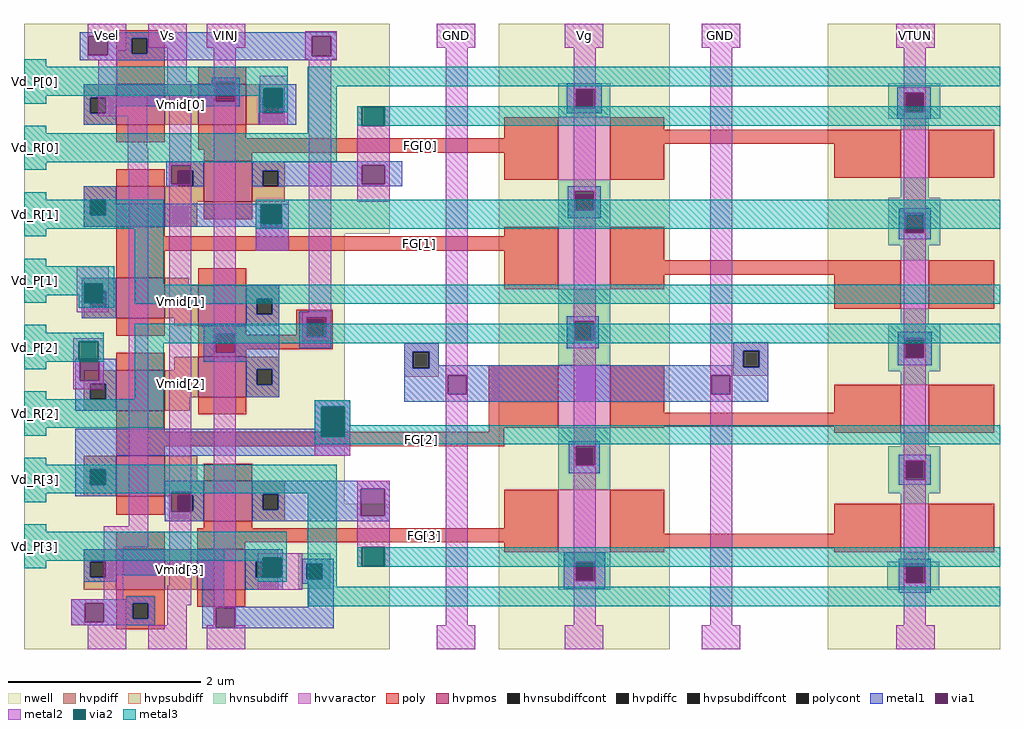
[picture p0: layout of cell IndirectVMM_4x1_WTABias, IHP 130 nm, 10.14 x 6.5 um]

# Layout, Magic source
magic
tech ihp-sg13g2
<< nwell >>
rect 510 587 890 805
rect 510 306 843 587
rect 510 155 890 306
rect 1003 155 1181 805
rect 1345 155 1524 805
<< hvpmos >>
rect 606 700 656 742
rect 691 700 741 742
rect 606 594 656 636
rect 697 620 747 662
rect 606 499 656 541
rect 691 491 741 533
rect 606 403 656 445
rect 691 417 741 459
rect 606 314 656 356
rect 697 288 747 330
rect 606 217 656 259
rect 690 217 740 259
<< hvvaractor >>
rect 1065 643 1119 708
rect 1421 645 1450 695
rect 1065 529 1119 594
rect 1421 509 1450 559
rect 1065 385 1119 450
rect 1421 380 1450 430
rect 1065 256 1119 321
rect 1421 256 1450 306
<< hvpdiff >>
rect 572 728 606 742
rect 572 712 579 728
rect 595 712 606 728
rect 572 700 606 712
rect 656 700 691 742
rect 741 728 781 742
rect 741 712 758 728
rect 774 712 781 728
rect 741 700 781 712
rect 663 652 697 662
rect 663 636 670 652
rect 686 636 697 652
rect 572 622 606 636
rect 572 606 579 622
rect 595 606 606 622
rect 572 594 606 606
rect 656 620 697 636
rect 747 652 781 662
rect 747 636 758 652
rect 774 636 781 652
rect 747 620 781 636
rect 656 594 690 620
rect 572 527 606 541
rect 572 511 579 527
rect 595 511 606 527
rect 572 499 606 511
rect 656 533 681 541
rect 656 499 691 533
rect 666 491 691 499
rect 741 519 775 533
rect 741 503 752 519
rect 768 503 775 519
rect 741 491 775 503
rect 666 445 691 459
rect 572 431 606 445
rect 572 415 579 431
rect 595 415 606 431
rect 572 403 606 415
rect 656 417 691 445
rect 741 446 775 459
rect 741 430 752 446
rect 768 430 775 446
rect 741 417 775 430
rect 656 403 682 417
rect 572 342 606 356
rect 572 326 579 342
rect 595 326 606 342
rect 572 314 606 326
rect 656 330 690 356
rect 656 315 697 330
rect 656 314 670 315
rect 663 299 670 314
rect 686 299 697 315
rect 663 288 697 299
rect 747 316 781 330
rect 747 300 758 316
rect 774 300 781 316
rect 747 288 781 300
rect 572 246 606 259
rect 572 230 579 246
rect 595 230 606 246
rect 572 217 606 230
rect 656 217 690 259
rect 740 246 774 259
rect 740 230 751 246
rect 767 230 774 246
rect 740 217 774 230
<< hvpdiffc >>
rect 579 712 595 728
rect 758 712 774 728
rect 670 636 686 652
rect 579 606 595 622
rect 758 636 774 652
rect 579 511 595 527
rect 752 503 768 519
rect 579 415 595 431
rect 752 430 768 446
rect 579 326 595 342
rect 670 299 686 315
rect 758 300 774 316
rect 579 230 595 246
rect 751 230 767 246
<< hvpsubdiff >>
rect 905 464 941 473
rect 905 447 914 464
rect 931 447 941 464
rect 1247 465 1283 474
rect 905 438 941 447
rect 1247 448 1257 465
rect 1274 448 1283 465
rect 1247 439 1283 448
<< hvnsubdiff >>
rect 1065 736 1119 743
rect 1065 719 1084 736
rect 1101 719 1119 736
rect 1065 708 1119 719
rect 1408 731 1462 743
rect 1408 714 1427 731
rect 1444 714 1462 731
rect 1408 706 1462 714
rect 1421 695 1450 706
rect 1065 628 1119 643
rect 1065 611 1084 628
rect 1101 611 1119 628
rect 1421 624 1450 645
rect 1065 594 1119 611
rect 1408 606 1462 624
rect 1408 589 1427 606
rect 1444 589 1462 606
rect 1408 575 1462 589
rect 1421 559 1450 575
rect 1065 493 1119 529
rect 1421 493 1450 509
rect 1065 476 1082 493
rect 1099 476 1119 493
rect 1065 450 1119 476
rect 1408 476 1462 493
rect 1408 459 1427 476
rect 1444 459 1462 476
rect 1408 444 1462 459
rect 1421 430 1450 444
rect 1065 364 1119 385
rect 1421 366 1450 380
rect 1065 347 1084 364
rect 1101 347 1119 364
rect 1065 321 1119 347
rect 1408 350 1462 366
rect 1408 333 1427 350
rect 1444 333 1462 350
rect 1408 317 1462 333
rect 1421 306 1450 317
rect 795 244 828 255
rect 795 228 804 244
rect 820 228 828 244
rect 795 218 828 228
rect 1065 245 1119 256
rect 1421 246 1450 256
rect 1065 228 1084 245
rect 1101 228 1119 245
rect 1065 217 1119 228
rect 1407 241 1461 246
rect 1407 224 1426 241
rect 1443 224 1461 241
rect 1407 217 1461 224
<< hvpsubdiffcont >>
rect 914 447 931 464
rect 1257 448 1274 465
<< hvnsubdiffcont >>
rect 1084 719 1101 736
rect 1427 714 1444 731
rect 1084 611 1101 628
rect 1427 589 1444 606
rect 1082 476 1099 493
rect 1427 459 1444 476
rect 1084 347 1101 364
rect 1427 333 1444 350
rect 804 228 820 244
rect 1084 228 1101 245
rect 1426 224 1443 241
<< poly >>
rect 606 790 656 798
rect 606 774 622 790
rect 638 774 656 790
rect 606 742 656 774
rect 691 742 741 760
rect 606 682 656 700
rect 691 686 741 700
rect 1009 686 1065 708
rect 691 674 1065 686
rect 697 671 1065 674
rect 697 662 747 671
rect 606 636 656 654
rect 1009 643 1065 671
rect 1119 695 1175 708
rect 1119 680 1421 695
rect 1119 643 1175 680
rect 1352 645 1421 680
rect 1450 645 1518 695
rect 697 602 747 620
rect 606 584 656 594
rect 1009 584 1065 594
rect 606 569 1065 584
rect 606 541 656 569
rect 691 533 741 551
rect 606 481 656 499
rect 1009 529 1065 569
rect 1119 559 1175 594
rect 1119 544 1421 559
rect 1119 529 1175 544
rect 793 497 831 508
rect 691 482 741 491
rect 793 482 804 497
rect 691 480 804 482
rect 821 480 831 497
rect 691 467 831 480
rect 1352 509 1421 544
rect 1450 509 1518 559
rect 606 445 656 463
rect 691 459 741 467
rect 606 381 656 403
rect 691 399 741 417
rect 993 385 1065 450
rect 1119 401 1175 450
rect 1352 401 1421 430
rect 1119 386 1421 401
rect 1119 385 1175 386
rect 993 381 1009 385
rect 606 366 1009 381
rect 606 356 656 366
rect 1352 380 1421 386
rect 1450 380 1518 430
rect 697 330 747 348
rect 606 295 656 314
rect 697 281 747 288
rect 1009 281 1065 321
rect 606 259 656 277
rect 690 266 1065 281
rect 690 259 740 266
rect 1009 256 1065 266
rect 1119 275 1175 321
rect 1352 275 1421 306
rect 1119 260 1421 275
rect 1119 256 1175 260
rect 1352 256 1421 260
rect 1450 256 1518 306
rect 606 203 656 217
rect 606 187 623 203
rect 639 187 656 203
rect 690 199 740 217
rect 606 176 656 187
<< polycont >>
rect 622 774 638 790
rect 804 480 821 497
rect 623 187 639 203
<< metal1 >>
rect 568 792 835 796
rect 568 772 577 792
rect 597 790 809 792
rect 597 774 622 790
rect 638 774 809 790
rect 597 772 809 774
rect 568 771 809 772
rect 829 771 835 792
rect 568 767 835 771
rect 705 744 734 749
rect 705 742 709 744
rect 572 728 709 742
rect 572 712 579 728
rect 595 724 709 728
rect 729 724 734 744
rect 595 719 734 724
rect 754 732 793 742
rect 754 728 759 732
rect 595 712 606 719
rect 572 700 606 712
rect 754 712 758 728
rect 779 712 793 732
rect 1074 737 1110 743
rect 1074 717 1083 737
rect 1103 717 1110 737
rect 1074 712 1110 717
rect 1417 733 1452 739
rect 1417 713 1425 733
rect 1445 713 1452 733
rect 754 700 793 712
rect 1417 706 1452 713
rect 658 658 697 662
rect 658 638 663 658
rect 683 652 697 658
rect 658 636 670 638
rect 686 636 697 652
rect 747 658 903 662
rect 747 652 861 658
rect 747 636 758 652
rect 774 638 861 652
rect 885 638 903 658
rect 774 636 903 638
rect 572 622 606 636
rect 572 606 579 622
rect 595 618 606 622
rect 1075 631 1109 636
rect 595 613 785 618
rect 595 606 756 613
rect 572 594 756 606
rect 751 593 756 594
rect 778 593 785 613
rect 1075 611 1082 631
rect 1102 611 1109 631
rect 1075 603 1109 611
rect 1419 608 1452 613
rect 751 569 785 593
rect 1419 588 1425 608
rect 1445 588 1452 608
rect 1419 581 1452 588
rect 570 535 606 541
rect 570 515 572 535
rect 592 527 606 535
rect 570 511 579 515
rect 595 511 606 527
rect 570 499 606 511
rect 741 519 775 533
rect 741 503 752 519
rect 768 503 775 519
rect 741 491 775 503
rect 697 483 775 491
rect 697 463 709 483
rect 729 463 775 483
rect 796 500 829 506
rect 796 480 804 500
rect 824 480 829 500
rect 796 468 829 480
rect 1074 496 1107 501
rect 1074 476 1082 496
rect 1102 476 1107 496
rect 563 454 606 457
rect 697 454 775 463
rect 563 434 568 454
rect 588 434 606 454
rect 563 431 606 434
rect 563 415 579 431
rect 595 415 606 431
rect 741 446 775 454
rect 741 430 752 446
rect 768 430 775 446
rect 741 417 775 430
rect 905 464 941 473
rect 1074 468 1107 476
rect 1418 478 1453 485
rect 905 447 914 464
rect 931 450 941 464
rect 1247 465 1283 474
rect 1247 450 1257 465
rect 931 448 1257 450
rect 1274 448 1283 465
rect 1418 458 1425 478
rect 1445 458 1453 478
rect 1418 450 1453 458
rect 931 447 1283 448
rect 905 440 1283 447
rect 905 420 950 440
rect 970 420 1224 440
rect 1244 420 1283 440
rect 563 403 606 415
rect 812 407 849 414
rect 905 412 1283 420
rect 812 384 819 407
rect 563 376 819 384
rect 843 376 849 407
rect 563 356 849 376
rect 1076 366 1108 371
rect 563 342 606 356
rect 563 326 579 342
rect 595 326 606 342
rect 1076 346 1083 366
rect 1103 346 1108 366
rect 1076 338 1108 346
rect 1419 351 1452 357
rect 1419 331 1426 351
rect 1446 331 1452 351
rect 563 314 606 326
rect 656 318 697 330
rect 656 298 663 318
rect 683 315 697 318
rect 686 299 697 315
rect 683 298 697 299
rect 656 288 697 298
rect 747 322 890 330
rect 1419 326 1452 331
rect 747 316 860 322
rect 747 300 758 316
rect 774 300 860 316
rect 747 294 860 300
rect 885 294 890 322
rect 747 288 890 294
rect 572 246 718 259
rect 572 230 579 246
rect 595 232 718 246
rect 595 230 606 232
rect 572 225 606 230
rect 616 207 646 210
rect 559 203 646 207
rect 559 183 573 203
rect 593 187 623 203
rect 639 187 646 203
rect 593 183 646 187
rect 559 180 646 183
rect 695 199 718 232
rect 740 250 779 259
rect 740 246 758 250
rect 740 230 751 246
rect 778 230 779 250
rect 740 217 779 230
rect 799 244 832 249
rect 799 228 804 244
rect 820 228 832 244
rect 799 223 832 228
rect 806 199 832 223
rect 1071 246 1114 256
rect 1071 226 1083 246
rect 1103 226 1114 246
rect 1071 218 1114 226
rect 1419 244 1452 249
rect 1419 224 1426 244
rect 1446 224 1452 244
rect 1419 214 1452 224
rect 695 198 832 199
rect 695 178 709 198
rect 729 178 832 198
rect 695 177 832 178
<< via1 >>
rect 577 772 597 792
rect 809 771 829 792
rect 709 724 729 744
rect 759 728 779 732
rect 759 712 774 728
rect 774 712 779 728
rect 1083 736 1103 737
rect 1083 719 1084 736
rect 1084 719 1101 736
rect 1101 719 1103 736
rect 1083 717 1103 719
rect 1425 731 1445 733
rect 1425 714 1427 731
rect 1427 714 1444 731
rect 1444 714 1445 731
rect 1425 713 1445 714
rect 663 652 683 658
rect 663 638 670 652
rect 670 638 683 652
rect 861 638 885 658
rect 756 593 778 613
rect 1082 628 1102 631
rect 1082 611 1084 628
rect 1084 611 1101 628
rect 1101 611 1102 628
rect 1425 606 1445 608
rect 1425 589 1427 606
rect 1427 589 1444 606
rect 1444 589 1445 606
rect 1425 588 1445 589
rect 572 527 592 535
rect 572 515 579 527
rect 579 515 592 527
rect 709 463 729 483
rect 804 497 824 500
rect 804 480 821 497
rect 821 480 824 497
rect 1082 493 1102 496
rect 1082 476 1099 493
rect 1099 476 1102 493
rect 568 434 588 454
rect 1425 476 1445 478
rect 1425 459 1427 476
rect 1427 459 1444 476
rect 1444 459 1445 476
rect 1425 458 1445 459
rect 950 420 970 440
rect 1224 420 1244 440
rect 819 376 843 407
rect 1083 364 1103 366
rect 1083 347 1084 364
rect 1084 347 1101 364
rect 1101 347 1103 364
rect 1083 346 1103 347
rect 1426 350 1446 351
rect 1426 333 1427 350
rect 1427 333 1444 350
rect 1444 333 1446 350
rect 1426 331 1446 333
rect 663 315 683 318
rect 663 299 670 315
rect 670 299 683 315
rect 663 298 683 299
rect 860 294 885 322
rect 573 183 593 203
rect 758 246 778 250
rect 758 230 767 246
rect 767 230 778 246
rect 1083 245 1103 246
rect 1083 228 1084 245
rect 1084 228 1101 245
rect 1101 228 1103 245
rect 1083 226 1103 228
rect 1426 241 1446 244
rect 1426 224 1443 241
rect 1443 224 1446 241
rect 709 178 729 198
<< metal2 >>
rect 576 792 616 805
rect 576 772 577 792
rect 597 777 616 792
rect 639 780 679 805
rect 700 780 740 805
rect 802 792 835 797
rect 597 772 607 777
rect 576 767 607 772
rect 587 729 607 767
rect 659 745 679 780
rect 659 732 684 745
rect 587 709 638 729
rect 618 675 638 709
rect 618 655 639 675
rect 565 535 598 553
rect 565 515 572 535
rect 592 515 598 535
rect 565 505 598 515
rect 561 475 593 478
rect 561 455 567 475
rect 587 455 593 475
rect 561 454 593 455
rect 561 434 568 454
rect 588 434 593 454
rect 561 425 593 434
rect 619 283 639 655
rect 593 261 639 283
rect 661 658 684 732
rect 661 638 663 658
rect 683 638 684 658
rect 661 318 684 638
rect 661 298 663 318
rect 683 298 684 318
rect 593 207 613 261
rect 661 221 684 298
rect 559 203 616 207
rect 559 183 573 203
rect 593 183 616 203
rect 559 180 616 183
rect 659 201 684 221
rect 707 744 730 780
rect 802 771 809 792
rect 829 771 835 792
rect 939 780 979 805
rect 1072 780 1112 805
rect 1214 780 1254 805
rect 1416 780 1456 805
rect 802 768 835 771
rect 707 724 709 744
rect 729 724 730 744
rect 707 483 730 724
rect 755 738 784 751
rect 755 712 759 738
rect 779 712 784 738
rect 755 700 784 712
rect 751 617 785 622
rect 751 593 756 617
rect 778 593 785 617
rect 751 569 785 593
rect 806 505 829 768
rect 856 699 861 719
rect 885 699 890 719
rect 856 658 890 699
rect 856 638 861 658
rect 885 638 890 658
rect 856 620 890 638
rect 707 463 709 483
rect 729 463 730 483
rect 799 500 829 505
rect 799 480 804 500
rect 824 480 829 500
rect 799 475 829 480
rect 659 180 679 201
rect 707 198 730 463
rect 948 440 971 780
rect 948 420 950 440
rect 970 420 971 440
rect 812 407 849 414
rect 812 376 819 407
rect 843 376 849 407
rect 812 356 849 376
rect 856 322 890 330
rect 856 294 860 322
rect 885 294 890 322
rect 856 261 890 294
rect 753 250 799 255
rect 753 230 758 250
rect 778 230 799 250
rect 856 241 861 261
rect 885 241 890 261
rect 753 217 799 230
rect 707 180 709 198
rect 576 155 616 180
rect 639 155 679 180
rect 700 178 709 180
rect 729 180 730 198
rect 948 180 971 420
rect 1081 737 1104 780
rect 1081 717 1083 737
rect 1103 717 1104 737
rect 1081 631 1104 717
rect 1081 611 1082 631
rect 1102 611 1104 631
rect 1081 496 1104 611
rect 1081 476 1082 496
rect 1102 476 1104 496
rect 1081 366 1104 476
rect 1081 346 1083 366
rect 1103 346 1104 366
rect 1081 246 1104 346
rect 1081 226 1083 246
rect 1103 226 1104 246
rect 1081 180 1104 226
rect 1223 440 1246 780
rect 1223 420 1224 440
rect 1244 420 1246 440
rect 1223 180 1246 420
rect 1424 733 1447 780
rect 1424 713 1425 733
rect 1445 713 1447 733
rect 1424 608 1447 713
rect 1424 588 1425 608
rect 1445 588 1447 608
rect 1424 478 1447 588
rect 1424 458 1425 478
rect 1445 458 1447 478
rect 1424 351 1447 458
rect 1424 331 1426 351
rect 1446 331 1447 351
rect 1424 244 1447 331
rect 1424 224 1426 244
rect 1446 224 1447 244
rect 1424 180 1447 224
rect 729 178 740 180
rect 700 155 740 178
rect 939 155 979 180
rect 1072 155 1112 180
rect 1214 155 1254 180
rect 1416 155 1456 180
<< via2 >>
rect 572 515 592 535
rect 567 455 587 475
rect 759 732 779 738
rect 759 718 779 732
rect 756 613 778 617
rect 756 597 778 613
rect 861 699 885 719
rect 819 376 843 407
rect 758 230 778 250
rect 861 241 885 261
<< metal3 >>
rect 510 760 533 768
rect 510 738 784 760
rect 510 730 759 738
rect 510 722 533 730
rect 754 718 759 730
rect 779 718 784 738
rect 754 713 784 718
rect 805 740 1524 760
rect 510 691 533 699
rect 805 691 835 740
rect 856 699 861 719
rect 885 699 1524 719
rect 510 661 835 691
rect 510 653 533 661
rect 510 622 533 630
rect 510 592 655 622
rect 751 617 1524 622
rect 751 597 756 617
rect 778 597 1524 617
rect 751 592 1524 597
rect 510 584 533 592
rect 510 553 533 561
rect 510 535 604 553
rect 510 523 572 535
rect 510 515 533 523
rect 567 515 572 523
rect 592 515 604 535
rect 567 510 604 515
rect 625 534 655 592
rect 625 514 1524 534
rect 510 484 533 492
rect 510 475 593 484
rect 510 455 567 475
rect 587 455 593 475
rect 510 454 593 455
rect 625 473 1524 493
rect 510 446 533 454
rect 510 415 533 423
rect 625 415 655 473
rect 510 385 655 415
rect 812 407 849 414
rect 510 377 533 385
rect 812 376 819 407
rect 843 388 849 407
rect 843 376 1524 388
rect 812 368 1524 376
rect 510 347 533 354
rect 510 317 835 347
rect 510 308 533 317
rect 510 277 533 285
rect 510 250 783 277
rect 510 247 758 250
rect 510 239 533 247
rect 753 230 758 247
rect 778 230 783 250
rect 753 225 783 230
rect 805 220 835 317
rect 856 241 861 261
rect 885 241 1524 261
rect 805 200 1524 220
<< labels >>
flabel metal3 510 722 533 768 1 FreeSans 40 270 0 0 Vd_P[0]
port 1 n
flabel metal3 510 653 533 699 1 FreeSans 40 270 0 0 Vd_R[0]
port 2 n
flabel metal3 510 584 533 630 1 FreeSans 40 270 0 0 Vd_R[1]
port 3 n
flabel metal3 510 515 533 561 1 FreeSans 40 270 0 0 Vd_P[1]
port 4 n
flabel metal3 510 446 533 492 1 FreeSans 40 270 0 0 Vd_P[2]
port 5 n
flabel metal3 510 377 533 423 1 FreeSans 40 270 0 0 Vd_R[2]
port 6 n
flabel metal3 510 308 533 354 1 FreeSans 40 270 0 0 Vd_R[3]
port 7 n
flabel metal3 510 239 533 285 1 FreeSans 40 270 0 0 Vd_P[3]
port 8 n
flabel poly 909 671 935 686 0 FreeSans 40 0 0 0 FG[0]
flabel poly 908 569 934 584 0 FreeSans 40 0 0 0 FG[1]
flabel poly 910 366 936 381 0 FreeSans 40 0 0 0 FG[2]
flabel poly 913 266 939 281 0 FreeSans 40 0 0 0 FG[3]
flabel hvpdiff 656 700 691 742 1 FreeSans 40 0 0 0 Vmid[0]
flabel hvpdiff 656 499 691 533 1 FreeSans 40 0 0 0 Vmid[1]
flabel hvpdiff 656 417 691 445 1 FreeSans 40 0 0 0 Vmid[2]
flabel hvpdiff 656 217 690 259 1 FreeSans 40 0 0 0 Vmid[3]
flabel metal2 576 780 616 805 0 FreeSans 40 0 0 0 Vsel
port 29 nsew
flabel metal2 700 780 740 805 1 FreeSans 40 0 0 0 VINJ
port 25 n
flabel metal2 639 780 679 805 1 FreeSans 40 0 0 0 Vs
port 24 n
flabel metal2 1416 780 1456 805 1 FreeSans 40 0 0 0 VTUN
port 28 n
flabel metal2 1214 780 1254 805 1 FreeSans 40 0 0 0 GND
port 26 n
flabel metal2 1072 780 1112 805 1 FreeSans 40 0 0 0 Vg
port 27 n
flabel metal2 939 780 979 805 1 FreeSans 40 0 0 0 GND
port 26 n
<< end >>
